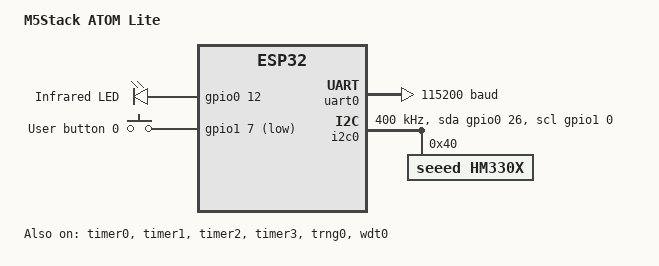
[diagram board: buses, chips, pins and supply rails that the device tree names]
/*
 * Copyright (c) 2023 Benjamin Cabé <benjamin@zephyrproject.org>
 *
 * SPDX-License-Identifier: Apache-2.0
 */
/dts-v1/;

#include <espressif/esp32/esp32_pico_d4.dtsi>
#include "m5stack_atom_lite-pinctrl.dtsi"
#include "grove_connectors.dtsi"
#include <zephyr/dt-bindings/input/input-event-codes.h>
#include <zephyr/dt-bindings/led/led.h>

/ {
	model = "M5Stack ATOM Lite";
	compatible = "m5stack,atom_lite";

	chosen {
		zephyr,sram = &sram0;
		zephyr,console = &uart0;
		zephyr,shell-uart = &uart0;
		zephyr,flash = &flash0;
	};

	aliases {
		sw0 = &user_button_0;
		watchdog0 = &wdt0;
	};

	leds {
		compatible = "gpio-leds";

		ir_led: led_0 {
			gpios =  <&gpio0 12 GPIO_ACTIVE_HIGH>;
			label = "Infrared LED";
		};
	};

	gpio_keys {
		compatible = "gpio-keys";

		user_button_0: button_0 {
			label = "User button 0";
			gpios = <&gpio1 7 GPIO_ACTIVE_LOW>; // G39
			zephyr,code = <INPUT_KEY_0>;
		};
	};
};

&cpu0 {
	clock-frequency = <ESP32_CLK_CPU_240M>;
};

&cpu1 {
	clock-frequency = <ESP32_CLK_CPU_240M>;
};

&uart0 {
	status = "okay";
	current-speed = <115200>;
	pinctrl-0 = <&uart0_default>;
	pinctrl-names = "default";
};

&i2c0 {
	status = "okay";
	clock-frequency = <I2C_BITRATE_FAST>;
	pinctrl-0 = <&i2c0_default>;
	pinctrl-names = "default";
	sda-gpios = <&gpio0 26 GPIO_OPEN_DRAIN>;
	scl-gpios = <&gpio1 0 GPIO_OPEN_DRAIN>;

	hm330x@40 {
		compatible = "seeed,hm330x";
		reg = <0x40>;
		status = "okay";
	};
};

&timer0 {
	status = "okay";
};

&timer1 {
	status = "okay";
};

&timer2 {
	status = "okay";
};

&timer3 {
	status = "okay";
};

&trng0 {
	status = "okay";
};

&spi2 {
	#address-cells = <1>;
	#size-cells = <0>;
	pinctrl-0 = <&spim2_default>;
	pinctrl-names = "default";
};

&gpio0 {
	status = "okay";
};

&gpio1 {
	status = "okay";
};

&wdt0 {
	status = "okay";
};

&flash0 {
	status = "okay";
	partitions {
		compatible = "fixed-partitions";
		#address-cells = <1>;
		#size-cells = <1>;

		/* Reserve 60kB for the bootloader */
		boot_partition: partition@1000 {
			label = "mcuboot";
			reg = <0x00001000 0x0000F000>;
			read-only;
		};

		/* Reserve 1024kB for the application in slot 0 */
		slot0_partition: partition@10000 {
			label = "image-0";
			reg = <0x00010000 0x00100000>;
		};

		/* Reserve 1024kB for the application in slot 1 */
		slot1_partition: partition@110000 {
			label = "image-1";
			reg = <0x00110000 0x00100000>;
		};

		/* Reserve 256kB for the scratch partition */
		scratch_partition: partition@210000 {
			label = "image-scratch";
			reg = <0x00210000 0x00040000>;
		};

		storage_partition: partition@250000 {
			label = "storage";
			reg = <0x00250000 0x00006000>;
		};
	};
};
